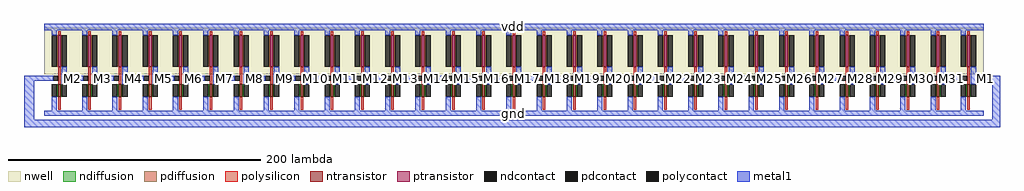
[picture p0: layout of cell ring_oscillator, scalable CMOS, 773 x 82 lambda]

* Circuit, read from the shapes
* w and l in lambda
.subckt ring_oscillator gnd vdd
M1 n1 n2 gnd VSUBS nfet w=10 l=2
M2 n3 n1 gnd VSUBS nfet w=10 l=2
M3 n4 n3 gnd VSUBS nfet w=10 l=2
M4 n5 n4 gnd VSUBS nfet w=10 l=2
M5 n6 n5 gnd VSUBS nfet w=10 l=2
M6 n7 n6 gnd VSUBS nfet w=10 l=2
M7 n8 n7 gnd VSUBS nfet w=10 l=2
M8 n9 n8 gnd VSUBS nfet w=10 l=2
M9 n10 n9 gnd VSUBS nfet w=10 l=2
M10 n11 n10 gnd VSUBS nfet w=10 l=2
M11 n12 n11 gnd VSUBS nfet w=10 l=2
M12 n13 n12 gnd VSUBS nfet w=10 l=2
M13 n14 n13 gnd VSUBS nfet w=10 l=2
M14 n15 n14 gnd VSUBS nfet w=10 l=2
M15 n16 n15 gnd VSUBS nfet w=10 l=2
M16 n17 n16 gnd VSUBS nfet w=10 l=2
M17 n18 n17 gnd VSUBS nfet w=10 l=2
M18 n19 n18 gnd VSUBS nfet w=10 l=2
M19 n20 n19 gnd VSUBS nfet w=10 l=2
M20 n21 n20 gnd VSUBS nfet w=10 l=2
M21 n22 n21 gnd VSUBS nfet w=10 l=2
M22 n23 n22 gnd VSUBS nfet w=10 l=2
M23 n24 n23 gnd VSUBS nfet w=10 l=2
M24 n25 n24 gnd VSUBS nfet w=10 l=2
M25 n26 n25 gnd VSUBS nfet w=10 l=2
M26 n27 n26 gnd VSUBS nfet w=10 l=2
M27 n28 n27 gnd VSUBS nfet w=10 l=2
M28 n29 n28 gnd VSUBS nfet w=10 l=2
M29 n30 n29 gnd VSUBS nfet w=10 l=2
M30 n31 n30 gnd VSUBS nfet w=10 l=2
M31 n2 n31 gnd VSUBS nfet w=10 l=2
M32 n1 n2 vdd n32 pfet w=25 l=2
M33 n3 n1 vdd n32 pfet w=25 l=2
M34 n4 n3 vdd n32 pfet w=25 l=2
M35 n5 n4 vdd n32 pfet w=25 l=2
M36 n6 n5 vdd n32 pfet w=25 l=2
M37 n7 n6 vdd n32 pfet w=25 l=2
M38 n8 n7 vdd n32 pfet w=25 l=2
M39 n9 n8 vdd n32 pfet w=25 l=2
M40 n10 n9 vdd n32 pfet w=25 l=2
M41 n11 n10 vdd n32 pfet w=25 l=2
M42 n12 n11 vdd n32 pfet w=25 l=2
M43 n13 n12 vdd n32 pfet w=25 l=2
M44 n14 n13 vdd n32 pfet w=25 l=2
M45 n15 n14 vdd n32 pfet w=25 l=2
M46 n16 n15 vdd n32 pfet w=25 l=2
M47 n17 n16 vdd n32 pfet w=25 l=2
M48 n18 n17 vdd n32 pfet w=25 l=2
M49 n19 n18 vdd n32 pfet w=25 l=2
M50 n20 n19 vdd n32 pfet w=25 l=2
M51 n21 n20 vdd n32 pfet w=25 l=2
M52 n22 n21 vdd n32 pfet w=25 l=2
M53 n23 n22 vdd n32 pfet w=25 l=2
M54 n24 n23 vdd n32 pfet w=25 l=2
M55 n25 n24 vdd n32 pfet w=25 l=2
M56 n26 n25 vdd n32 pfet w=25 l=2
M57 n27 n26 vdd n32 pfet w=25 l=2
M58 n28 n27 vdd n32 pfet w=25 l=2
M59 n29 n28 vdd n32 pfet w=25 l=2
M60 n30 n29 vdd n32 pfet w=25 l=2
M61 n31 n30 vdd n32 pfet w=25 l=2
M62 n2 n31 vdd n32 pfet w=25 l=2
.ends

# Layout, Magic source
magic
tech scmos
<< metal1 >>
rect 0 68 744 73
rect -16 28 1 32
rect 14 28 31 32
rect 38 28 55 32
rect 62 28 79 32
rect 86 28 103 32
rect 110 28 127 32
rect 134 28 151 32
rect 158 28 175 32
rect 182 28 199 32
rect 206 28 223 32
rect 230 28 247 32
rect 254 28 271 32
rect 278 28 295 32
rect 302 28 319 32
rect 326 28 343 32
rect 350 28 367 32
rect 374 28 391 32
rect 398 28 415 32
rect 422 28 439 32
rect 446 28 463 32
rect 470 28 487 32
rect 494 28 511 32
rect 518 28 535 32
rect 566 28 583 32
rect 590 28 607 32
rect 614 28 631 32
rect 638 28 655 32
rect 662 28 679 32
rect 686 28 703 32
rect 710 28 727 32
rect 734 28 757 32
rect -16 -3 -8 28
rect 0 0 744 4
rect 751 -3 757 28
rect -16 -9 757 -3
use inverter_wo_label_Q5  inverter_wo_label_Q5_0
array 0 30 24 0 0 72
transform 1 0 0 0 1 33
box 0 -33 24 39
<< labels >>
rlabel metal1 0 0 744 4 1 gnd
rlabel metal1 0 68 744 73 5 vdd
rlabel metal1 14 28 31 32 1 M2
rlabel metal1 38 28 55 32 1 M3
rlabel metal1 62 28 79 32 1 M4
rlabel metal1 86 28 103 32 1 M5
rlabel metal1 110 28 127 32 1 M6
rlabel metal1 134 28 151 32 1 M7
rlabel metal1 158 28 175 32 1 M8
rlabel metal1 182 28 199 32 1 M9
rlabel metal1 206 28 223 32 1 M10
rlabel metal1 230 28 247 32 1 M11
rlabel metal1 254 28 271 32 1 M12
rlabel metal1 278 28 295 32 1 M13
rlabel metal1 302 28 319 32 1 M14
rlabel metal1 326 28 343 32 1 M15
rlabel metal1 350 28 367 32 1 M16
rlabel metal1 374 28 391 32 1 M17
rlabel metal1 398 28 415 32 1 M18
rlabel metal1 422 28 439 32 1 M19
rlabel metal1 446 28 463 32 1 M20
rlabel metal1 470 28 487 32 1 M21
rlabel metal1 494 28 511 32 1 M22
rlabel metal1 518 28 535 32 1 M23
rlabel space 542 28 559 32 1 M24
rlabel metal1 566 28 583 32 1 M25
rlabel metal1 590 28 607 32 1 M26
rlabel metal1 614 28 631 32 1 M27
rlabel metal1 638 28 655 32 1 M28
rlabel metal1 662 28 679 32 1 M29
rlabel metal1 686 28 703 32 1 M30
rlabel metal1 710 28 727 32 1 M31
rlabel metal1 734 28 757 32 1 M1
<< end >>

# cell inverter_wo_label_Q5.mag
magic
tech scmos
<< nwell >>
rect 0 0 24 37
<< ntransistor >>
rect 11 -18 13 -8
<< ptransistor >>
rect 11 6 13 31
<< ndiffusion >>
rect 10 -18 11 -8
rect 13 -18 14 -8
<< pdiffusion >>
rect 10 6 11 31
rect 13 6 14 31
<< ndcontact >>
rect 6 -18 10 -8
rect 14 -18 18 -8
<< pdcontact >>
rect 6 6 10 31
rect 14 6 18 31
<< polysilicon >>
rect 11 31 13 34
rect 11 -8 13 6
rect 11 -28 13 -18
<< polycontact >>
rect 7 -5 11 -1
<< metal1 >>
rect 0 35 24 39
rect 6 31 10 35
rect 14 -1 18 6
rect 0 -5 7 -1
rect 14 -5 24 -1
rect 14 -8 18 -5
rect 6 -29 10 -18
rect 0 -33 24 -29
<< end >>
